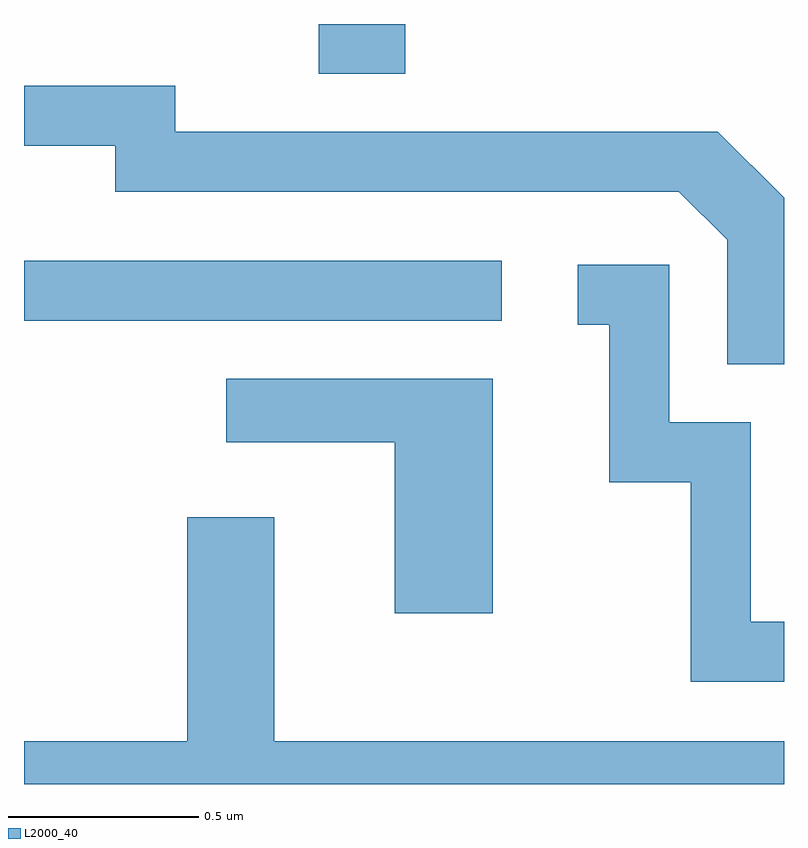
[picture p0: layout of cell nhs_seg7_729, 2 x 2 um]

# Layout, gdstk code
import gdstk
lib = gdstk.Library(unit=1e-6, precision=1e-09)
def R(c, l, rs):  # rectangles x0, y0, x1, y1
    for r in rs: c.add(gdstk.rectangle(r[:2], r[2:], *l))
def P(c, l, *ps):  # polygons
    for p in ps: c.add(gdstk.Polygon(p, *l))
L2000_40 = (2000, 40)

nhs_seg7_729 = lib.new_cell('nhs_seg7_729')
R(nhs_seg7_729, L2000_40, [(190.611,1713.471,191.868,1713.629), (191.386,1714.121,191.614,1714.252)])
P(nhs_seg7_729, L2000_40, [(192.611,1713.795),(192.437,1713.969),(191.009,1713.969),(191.009,1714.089),(190.611,1714.089),(190.611,1713.931),(190.851,1713.931),(190.851,1713.811),(192.334,1713.811),(192.461,1713.684),(192.461,1713.356),(192.611,1713.356)],
  [(192.611,1712.679),(192.524,1712.679),(192.524,1713.204),(192.309,1713.204),(192.309,1713.619),(192.068,1713.619),(192.068,1713.461),(192.151,1713.461),(192.151,1713.046),(192.366,1713.046),(192.366,1712.521),(192.611,1712.521)],
  [(191.844,1713.319),(191.143,1713.319),(191.143,1713.151),(191.586,1713.151),(191.586,1712.701),(191.844,1712.701)],
  [(192.611,1712.364),(191.269,1712.364),(191.269,1712.954),(191.041,1712.954),(191.041,1712.364),(190.611,1712.364),(190.611,1712.252),(192.611,1712.252)])

lib.write_gds('nhs_seg7_729.gds')
